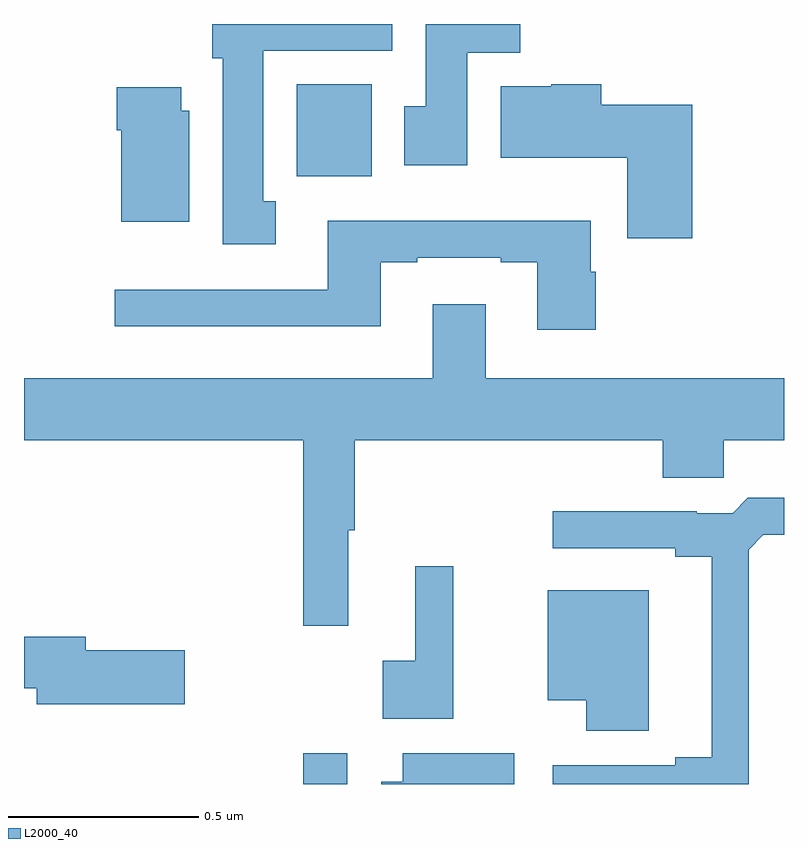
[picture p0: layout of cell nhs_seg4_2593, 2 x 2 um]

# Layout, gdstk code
import gdstk
lib = gdstk.Library(unit=1e-6, precision=1e-09)
def R(c, l, rs):  # rectangles x0, y0, x1, y1
    for r in rs: c.add(gdstk.rectangle(r[:2], r[2:], *l))
def P(c, l, *ps):  # polygons
    for p in ps: c.add(gdstk.Polygon(p, *l))
L2000_40 = (2000, 40)

nhs_seg4_2593 = lib.new_cell('nhs_seg4_2593')
R(nhs_seg4_2593, L2000_40, [(142.735,811.9,142.851,811.981), (142.718,813.5,142.915,813.742)])
P(nhs_seg4_2593, L2000_40, [(143.167,813.824),(143.306,813.824),(143.306,813.9),(143.057,813.9),(143.057,813.684),(143,813.684),(143,813.528),(143.167,813.528)],
  [(142.663,813.434),(142.63,813.434),(142.63,813.83),(142.969,813.83),(142.969,813.9),(142.496,813.9),(142.496,813.81),(142.523,813.81),(142.523,813.321),(142.663,813.321)],
  [(143.759,813.688),(143.519,813.688),(143.519,813.742),(143.388,813.742),(143.388,813.736),(143.255,813.736),(143.255,813.548),(143.588,813.548),(143.588,813.336),(143.759,813.336)],
  [(142.435,813.672),(142.414,813.672),(142.414,813.733),(142.244,813.733),(142.244,813.62),(142.256,813.62),(142.256,813.38),(142.435,813.38)],
  [(143.504,813.248),(143.491,813.248),(143.491,813.382),(142.799,813.382),(142.799,813.201),(142.239,813.201),(142.239,813.104),(142.939,813.104),(142.939,813.273),(143.035,813.273),(143.035,813.285),(143.255,813.285),(143.255,813.273),(143.351,813.273),(143.351,813.096),(143.504,813.096)],
  [(142.853,812.568),(142.871,812.568),(142.871,812.804),(143.681,812.804),(143.681,812.706),(143.841,812.706),(143.841,812.804),(144,812.804),(144,812.968),(143.215,812.968),(143.215,813.163),(143.075,813.163),(143.075,812.968),(142,812.968),(142,812.804),(142.735,812.804),(142.735,812.316),(142.853,812.316)],
  [(143.907,812.517),(143.946,812.556),(144,812.556),(144,812.653),(143.905,812.653),(143.865,812.613),(143.771,812.613),(143.771,812.618),(143.391,812.618),(143.391,812.52),(143.714,812.52),(143.714,812.498),(143.81,812.498),(143.81,811.97),(143.714,811.97),(143.714,811.95),(143.391,811.95),(143.391,811.9),(143.907,811.9)],
  [(143.13,812.473),(143.03,812.473),(143.03,812.225),(142.944,812.225),(142.944,812.072),(143.13,812.072)],
  [(143.644,812.41),(143.378,812.41),(143.378,812.12),(143.479,812.12),(143.479,812.04),(143.644,812.04)],
  [(142.423,812.252),(142.162,812.252),(142.162,812.288),(142,812.288),(142,812.152),(142.034,812.152),(142.034,812.11),(142.423,812.11)],
  [(143.29,811.981),(142.997,811.981),(142.997,811.906),(142.94,811.906),(142.94,811.9),(143.29,811.9)])

lib.write_gds('nhs_seg4_2593.gds')
